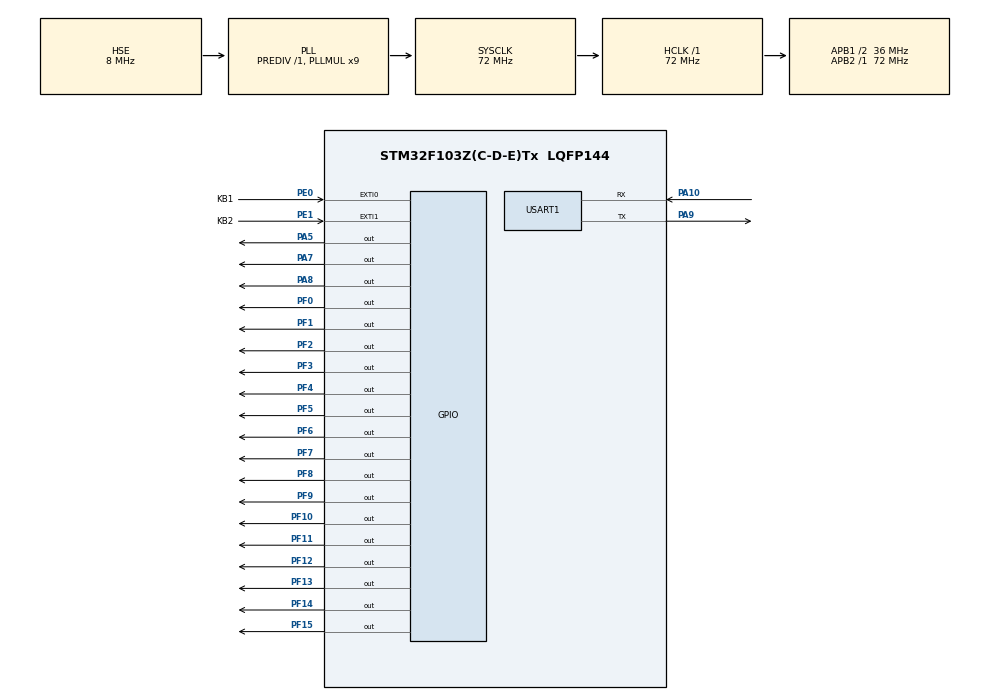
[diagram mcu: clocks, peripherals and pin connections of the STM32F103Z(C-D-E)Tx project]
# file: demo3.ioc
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Dma.Request0=USART1_RX
Dma.Request1=USART1_TX
Dma.USART1_RX.0.Direction=DMA_PERIPH_TO_MEMORY
Dma.USART1_RX.0.Instance=DMA1_Channel5
Dma.USART1_RX.0.MemDataAlignment=DMA_MDATAALIGN_BYTE
Dma.USART1_RX.0.MemInc=DMA_MINC_ENABLE
Dma.USART1_RX.0.Mode=DMA_NORMAL
Dma.USART1_RX.0.PeriphDataAlignment=DMA_PDATAALIGN_BYTE
Dma.USART1_RX.0.PeriphInc=DMA_PINC_DISABLE
Dma.USART1_RX.0.Priority=DMA_PRIORITY_LOW
Dma.USART1_TX.1.Direction=DMA_MEMORY_TO_PERIPH
Dma.USART1_TX.1.Instance=DMA1_Channel4
Dma.USART1_TX.1.MemDataAlignment=DMA_MDATAALIGN_BYTE
Dma.USART1_TX.1.MemInc=DMA_MINC_ENABLE
Dma.USART1_TX.1.Mode=DMA_NORMAL
Dma.USART1_TX.1.PeriphDataAlignment=DMA_PDATAALIGN_BYTE
Dma.USART1_TX.1.PeriphInc=DMA_PINC_DISABLE
Dma.USART1_TX.1.Priority=DMA_PRIORITY_LOW
Mcu.Family=STM32F1
Mcu.Name=STM32F103Z(C-D-E)Tx
Mcu.Package=LQFP144
NVIC.DMA1_Channel4_IRQn=true\:0\:0\:false\:false\:true\:false\:true\:true
NVIC.DMA1_Channel5_IRQn=true\:0\:0\:false\:false\:true\:false\:true\:true
NVIC.EXTI0_IRQn=true\:0\:0\:false\:false\:true\:true\:true\:true
NVIC.EXTI1_IRQn=true\:0\:0\:false\:false\:true\:true\:true\:true
NVIC.PriorityGroup=NVIC_PRIORITYGROUP_4
NVIC.USART1_IRQn=true\:0\:0\:false\:false\:true\:true\:true\:true
OSC_IN.Mode=HSE-External-Oscillator
OSC_IN.Signal=RCC_OSC_IN
OSC_OUT.Mode=HSE-External-Oscillator
OSC_OUT.Signal=RCC_OSC_OUT
PA10.Mode=Asynchronous
PA10.Signal=USART1_RX
PA13.Mode=Serial_Wire
PA13.Signal=SYS_JTMS-SWDIO
PA14.Mode=Serial_Wire
PA14.Signal=SYS_JTCK-SWCLK
PA5.Signal=GPIO_Output
PA7.Signal=GPIO_Output
PA8.Signal=GPIO_Output
PA9.Mode=Asynchronous
PA9.Signal=USART1_TX
PE0.GPIO_Label=KB1
PE0.GPIO_ModeDefaultEXTI=GPIO_MODE_IT_FALLING
PE0.GPIO_PuPd=GPIO_PULLUP
PE0.Signal=GPXTI0
PE1.GPIO_Label=KB2
PE1.GPIO_ModeDefaultEXTI=GPIO_MODE_IT_FALLING
PE1.GPIO_PuPd=GPIO_PULLUP
PE1.Signal=GPXTI1
PF0.Signal=GPIO_Output
PF1.Signal=GPIO_Output
PF10.Signal=GPIO_Output
PF11.Signal=GPIO_Output
PF12.Signal=GPIO_Output
PF13.Signal=GPIO_Output
PF14.Signal=GPIO_Output
PF15.Signal=GPIO_Output
PF2.Signal=GPIO_Output
PF3.Signal=GPIO_Output
PF4.Signal=GPIO_Output
PF5.Signal=GPIO_Output
PF6.Signal=GPIO_Output
PF7.Signal=GPIO_Output
PF8.Signal=GPIO_Output
PF9.Signal=GPIO_Output
ProjectManager.HeapSize=0x200
ProjectManager.StackSize=0x400
ProjectManager.TargetToolchain=MDK-ARM V5.32
RCC.AHBFreq_Value=72000000
RCC.APB1CLKDivider=RCC_HCLK_DIV2
RCC.APB1Freq_Value=36000000
RCC.APB1TimFreq_Value=72000000
RCC.APB2Freq_Value=72000000
RCC.APB2TimFreq_Value=72000000
RCC.HCLKFreq_Value=72000000
RCC.PLLMUL=RCC_PLL_MUL9
RCC.PLLSourceVirtual=RCC_PLLSOURCE_HSE
RCC.SYSCLKFreq_VALUE=72000000
RCC.SYSCLKSource=RCC_SYSCLKSOURCE_PLLCLK
RCC.USBFreq_Value=72000000
USART1.VirtualMode=VM_ASYNC
board=custom

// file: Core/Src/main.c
/* USER CODE BEGIN Header */
/**
  ******************************************************************************
  * @file           : main.c
  * @brief          : Main program body
  ******************************************************************************
  * @attention
  *
  * Copyright (c) 2025 STMicroelectronics.
  * All rights reserved.
  *
  * This software is licensed under terms that can be found in the LICENSE file
  * in the root directory of this software component.
  * If no LICENSE file comes with this software, it is provided AS-IS.
  *
  ******************************************************************************
  */
/* USER CODE END Header */
#include "main.h"
#include "dma.h"
#include "usart.h"
#include "gpio.h"

/* USER CODE BEGIN Includes */
#include "basic.h"
#include "Buzzer.h"
#include "Led.h"
#include "Seg.h"
/* USER CODE END Includes */

/* USER CODE BEGIN PV */
/*数码管*/
volatile uint8_t  seg_buf[] = {0x00,0x00,0x00,0x00,0x00,0x00,0x00,0x00,0x00}; //BUF:SEG_DISP
/*串口数组*/
uint8_t receiveData[] = {0x00,0x00,0x00,0x00,0x00,0x00,0x00,0x00,0x00,0x00};
uint8_t transmitData[] = {0x00,0x00,0x00,0x00,0x00,0x00,0x00,0x00,0x00,0x00};

/*kb1 kb2计数器 1 2*/
volatile uint8_t kb1_counter = 0;
volatile uint8_t kb2_counter = 0;

uint8_t uartFrame[FRAME_SIZE];
volatile uint8_t isFrameReady = 0;
/* USER CODE END PV */

void SystemClock_Config(void);

/* USER CODE BEGIN 0 */

//外部按键
void HAL_GPIO_EXTI_Callback(uint16_t GPIO_Pin){
	if(GPIO_Pin == KB1_Pin){
		delay_ms(50);
		if(HAL_GPIO_ReadPin(KB1_GPIO_Port, KB1_Pin) == GPIO_PIN_RESET){
			kb1_counter++;
			seg_buf[1] = kb1_counter/1000 % 10;
			seg_buf[2] = kb1_counter/100 % 10;
			seg_buf[3] = kb1_counter/10 % 10;
			seg_buf[4] = kb1_counter/1 % 10;
			BuildUartFrame();
			//while(HAL_GPIO_ReadPin(KB1_GPIO_Port, KB1_Pin) == GPIO_PIN_RESET);
		}
	}
	if(GPIO_Pin == KB2_Pin){
		delay_ms(50);
		if(HAL_GPIO_ReadPin(KB2_GPIO_Port, KB2_Pin) == GPIO_PIN_RESET){
			kb2_counter++;
			seg_buf[5] = kb2_counter/1000 % 10;
			seg_buf[6] = kb2_counter/100 % 10;
			seg_buf[7] = kb2_counter/10 % 10;
			seg_buf[8] = kb2_counter/1 % 10;
			BuildUartFrame();
			//while(HAL_GPIO_ReadPin(KB2_GPIO_Port, KB2_Pin) == GPIO_PIN_RESET);
		}
	}
}

void BuildUartFrame(void)
{
    // 帧头
    uartFrame[0] = 0xAA;
    uartFrame[1] = 0x55;

    // 数据长度(固定8字节)
    uartFrame[2] = 0x08;

    // 计数器1数据(4字节)
    uartFrame[3] = (kb1_counter >> 24) & 0xFF;
    uartFrame[4] = (kb1_counter >> 16) & 0xFF;
    uartFrame[5] = (kb1_counter >> 8) & 0xFF;
    uartFrame[6] = kb1_counter & 0xFF;

    // 计数器2数据(4字节)
    uartFrame[7] = (kb2_counter >> 24) & 0xFF;
    uartFrame[8] = (kb2_counter >> 16) & 0xFF;
    uartFrame[9] = (kb2_counter >> 8) & 0xFF;
    uartFrame[10] = kb2_counter & 0xFF;

    // 计算校验和(帧头之后所有字节的异或)
    uint8_t checksum = 0;
    for(int i = 0; i < 11; i++) {
        checksum ^= uartFrame[i];
    }
    uartFrame[11] = checksum;

    // 帧尾
    uartFrame[12] = 0x55;
    uartFrame[13] = 0xAA;

    isFrameReady = 1;  // 标记帧已准备好
}

// 发送数据帧
void SendUartFrame(void)
{
    if(isFrameReady)
    {
        // 使用DMA发送数据
        HAL_UART_Transmit_DMA(&huart1, uartFrame, FRAME_SIZE);
        isFrameReady = 0;  // 清除标志
    }
}
/* USER CODE END 0 */

int main(void)
{

  /* MCU Configuration--------------------------------------------------------*/

  /* Reset of all peripherals, Initializes the Flash interface and the Systick. */
  HAL_Init();

  /* Configure the system clock */
  SystemClock_Config();

  /* Initialize all configured peripherals */
  MX_GPIO_Init();
  MX_DMA_Init();
  MX_USART1_UART_Init();
  /* USER CODE BEGIN 2 */
	Seg_Init();
  /* USER CODE END 2 */

  /* Infinite loop */
  while (1)
  {

    /* USER CODE BEGIN 3 */
		for (int i = 1; i <= 8; i++) {
			Seg_disp(seg_buf[i],i);
			delay_ms(1);
		}
		SendUartFrame();
  }
  /* USER CODE END 3 */
}

void SystemClock_Config(void)
{
  RCC_OscInitTypeDef RCC_OscInitStruct = {0};
  RCC_ClkInitTypeDef RCC_ClkInitStruct = {0};

  /** Initializes the RCC Oscillators according to the specified parameters
  * in the RCC_OscInitTypeDef structure.
  */
  RCC_OscInitStruct.OscillatorType = RCC_OSCILLATORTYPE_HSE;
  RCC_OscInitStruct.HSEState = RCC_HSE_ON;
  RCC_OscInitStruct.HSEPredivValue = RCC_HSE_PREDIV_DIV1;
  RCC_OscInitStruct.HSIState = RCC_HSI_ON;
  RCC_OscInitStruct.PLL.PLLState = RCC_PLL_ON;
  RCC_OscInitStruct.PLL.PLLSource = RCC_PLLSOURCE_HSE;
  RCC_OscInitStruct.PLL.PLLMUL = RCC_PLL_MUL9;
  if (HAL_RCC_OscConfig(&RCC_OscInitStruct) != HAL_OK)
  {
    Error_Handler();
  }

  /** Initializes the CPU, AHB and APB buses clocks
  */
  RCC_ClkInitStruct.ClockType = RCC_CLOCKTYPE_HCLK|RCC_CLOCKTYPE_SYSCLK
                              |RCC_CLOCKTYPE_PCLK1|RCC_CLOCKTYPE_PCLK2;
  RCC_ClkInitStruct.SYSCLKSource = RCC_SYSCLKSOURCE_PLLCLK;
  RCC_ClkInitStruct.AHBCLKDivider = RCC_SYSCLK_DIV1;
  RCC_ClkInitStruct.APB1CLKDivider = RCC_HCLK_DIV2;
  RCC_ClkInitStruct.APB2CLKDivider = RCC_HCLK_DIV1;

  if (HAL_RCC_ClockConfig(&RCC_ClkInitStruct, FLASH_LATENCY_2) != HAL_OK)
  {
    Error_Handler();
  }
}

void Error_Handler(void)
{
  __disable_irq();
  while (1)
  {
  }
}
